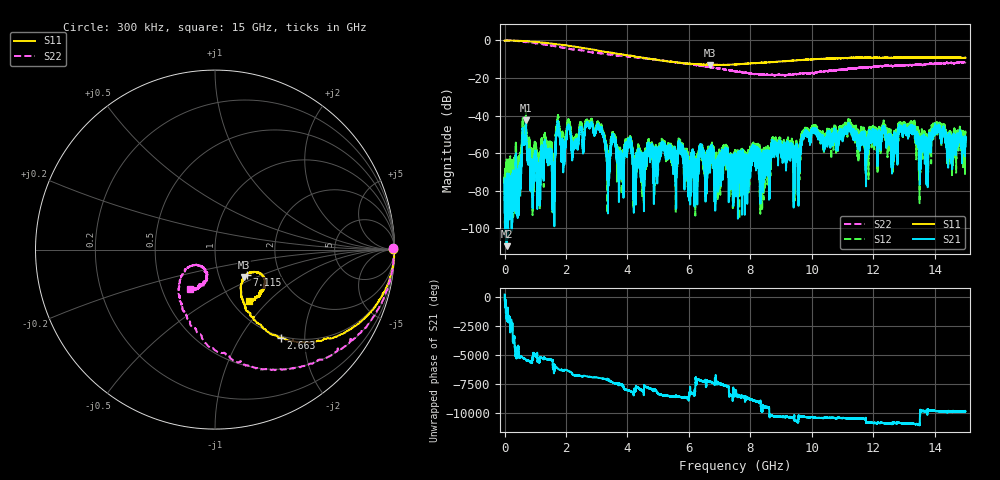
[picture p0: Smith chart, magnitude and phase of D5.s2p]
!Agilent Technologies,N5230C,SG49000117,A.08.50.07
!Agilent N5230C: A.08.50.07
!Date: Monday, December 11, 2023 23:26:11
!Correction: S11(Full 2 Port(1,2))
!S21(Full 2 Port(1,2))
!S12(Full 2 Port(1,2))
!S22(Full 2 Port(1,2))
!S2P File: Measurements: S11, S21, S12, S22:
# Hz S  RI  R 50
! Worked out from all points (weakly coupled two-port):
!   20001 points, 300 kHz to 15 GHz, reference 50 ohm
!   highest |S21| = -42.61 dB at 692.5 MHz (marker M1); lowest = -109.6 dB at 64.8 MHz (marker M2)
!   lowest |S11| = -13.1 dB at 6.683 GHz (marker M3), VSWR 1.57, Z = 65.3 - j21 ohm
!   |S11| at or under -10 dB: 4.837279 GHz to 4.84143 GHz (4.15 MHz wide, 0.0858 % of centre); 4.842 GHz to 10.06 GHz (5.217 GHz wide, 70 % of centre); 10.05963 GHz to 10.06101 GHz (1.383 MHz wide, 0.0138 % of centre) (the widest 3 of 8)
!   |S22| runs from -18.7 to 0.0 dB; largest |S21 - S12| = 0.0066
!   S11 on the Smith chart (normalised r, x): 300 kHz: open; 2.663 GHz: 0.97, -1.53; 7.115 GHz: 1.36, -0.40; 15 GHz: 1.19, -0.78
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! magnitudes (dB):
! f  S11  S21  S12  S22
! 300 kHz  -0.1  -73.5  -76.3  -0.1
! 64.8 MHz  0.0  -109.6  -79.2  0.0
! 453.3 MHz  -0.1  -71.1  -65.0  -0.3
! 692.5 MHz  -0.4  -42.6  -37.7  -1.0
! 1.11 GHz  -0.9  -67.2  -64.6  -1.7
! 1.362 GHz  -1.3  -59.4  -54.6  -2.3
! 1.587 GHz  -1.7  -74.6  -65.5  -2.9
! 1.738 GHz  -2.1  -43.3  -39.8  -3.4
! 2.501 GHz  -3.9  -46.4  -44.0  -5.2
! 2.663 GHz  -4.3  -44.3  -42.4  -5.7
! 3.104 GHz  -5.6  -48.7  -46.6  -6.8
! 3.373 GHz  -6.3  -64.8  -65.5  -7.4
! 3.543 GHz  -6.7  -51.0  -50.4  -7.7
! 4.249 GHz  -8.6  -66.8  -68.1  -9.0
! 5 GHz  -10.4  -57.7  -60.8  -10.5
! 6.683 GHz  -13.1  -61.5  -60.0  -14.2
! 7.115 GHz  -13.0  -61.6  -57.8  -15.2
! 7.5 GHz  -12.7  -72.1  -65.9  -16.4
! 9.496 GHz  -10.5  -58.3  -54.8  -17.9
! 10 GHz  -10.0  -47.1  -45.6  -17.3
! 12.5 GHz  -9.1  -51.2  -51.3  -13.5
! 15 GHz  -9.2  -51.9  -50.2  -11.6
